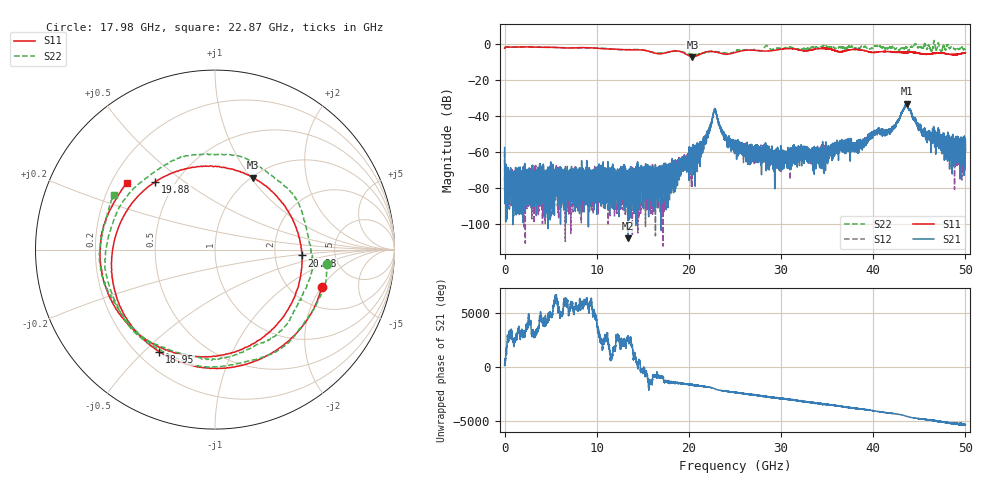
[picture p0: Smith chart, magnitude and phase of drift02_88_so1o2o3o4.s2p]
!Created with skrf (http://scikit-rf.org).
# Hz S RI R 50.0
!freq ReS11 ImS11 ReS21 ImS21 ReS12 ImS12 ReS22 ImS22
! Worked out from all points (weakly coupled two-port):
!   10001 points, 300 kHz to 50 GHz, reference 50 ohm
!   highest |S21| = -32.89 dB at 43.64 GHz (marker M1); lowest = -108.0 dB at 13.39 GHz (marker M2)
!   lowest |S11| = -6.9 dB at 20.38 GHz (marker M3), VSWR 2.65, Z = 50.8 + j51.1 ohm
!   |S11| at or under -10 dB: nowhere
!   |S22| runs from -5.7 to 2.2 dB; largest |S21 - S12| = 0.0029
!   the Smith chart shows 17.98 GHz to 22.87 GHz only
!   S11 on the Smith chart (normalised r, x): 17.98 GHz: 2.89, -2.01; 18.95 GHz: 0.28, -0.56; 19.88 GHz: 0.39, +0.39; 20.88 GHz: 2.85, -0.24; 22.87 GHz: 0.26, +0.31
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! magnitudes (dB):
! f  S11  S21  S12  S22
! 300 kHz  -2.1  -57.4  -59.6  -2.0
! 255.3 MHz  -1.4  -68.3  -73.9  -1.4
! 8.335 GHz  -1.7  -85.4  -79.5  -1.9
! 13.39 GHz  -2.9  -108.0  -78.7  -2.9
! 16.67 GHz  -5.2  -72.6  -78.3  -4.7
! 17.98 GHz  -4.0  -76.4  -71.4  -4.0
! 18.95 GHz  -3.8  -75.4  -68.7  -3.9
! 19.88 GHz  -6.0  -63.4  -68.3  -5.1
! 20.38 GHz  -6.9  -58.8  -63.3  -5.4
! 20.88 GHz  -6.3  -58.4  -62.1  -5.5
! 22.87 GHz  -4.2  -36.5  -36.2  -3.9
! 23.77 GHz  -5.3  -49.3  -50.5  -4.6
! 25 GHz  -4.5  -53.7  -56.3  -3.9
! 29.67 GHz  -2.9  -59.0  -63.0  -2.1
! 33.34 GHz  -3.0  -62.1  -59.4  -1.5
! 38.23 GHz  -2.7  -59.2  -55.2  -2.4
! 40.4 GHz  -4.3  -48.7  -48.1  -1.0
! 41.67 GHz  -3.9  -48.2  -47.6  -2.0
! 43.64 GHz  -4.3  -32.9  -33.4  -1.9
! 45.62 GHz  -5.4  -47.9  -48.1  0.3
! 48.61 GHz  -5.6  -66.1  -55.7  -1.5
! 50 GHz  -4.7  -58.8  -55.6  -2.7
